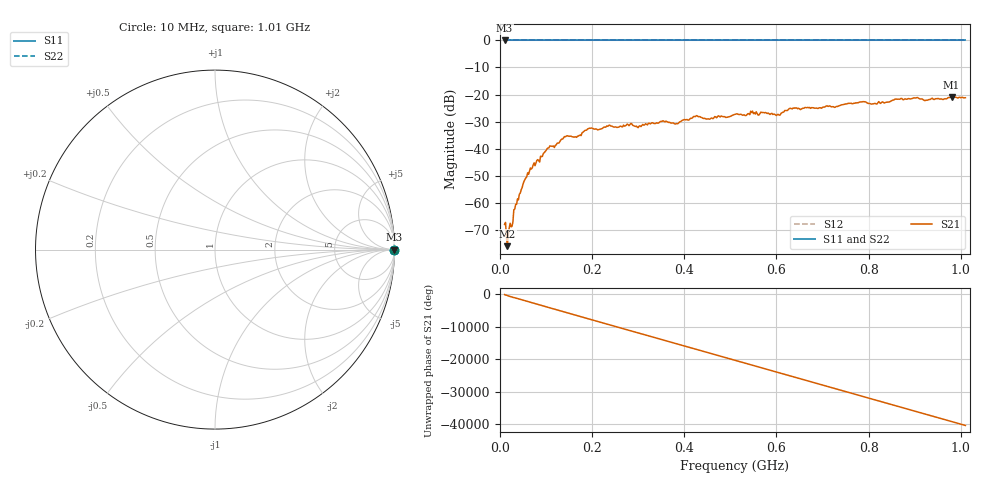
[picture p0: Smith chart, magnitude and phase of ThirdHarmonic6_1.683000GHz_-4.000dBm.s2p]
! 8/16/2025 8:11:51 PM
! C:\ANRITSUVNA\TEMP\TEMP.S2P
! CHANNEL.1
! TR.MEASUREMENT
! RAW.DATA
! RF.CORRECTION.OFF
! AVERAGING.OFF
! IF.BANDWIDTH: 5KHZ
! SWEEPTYPE:  FREQ.SWEEP(Linear)
! Reference Plane Port Info
! PORT:  PORT1  PORT2
! DISTANCE:  0  m  0  m
! TIME:  0  s  0  s
! PHASE.OFFSET:  0  deg.  0  deg.
! LOSS:  0  dB  0  dB
! REF.LOSS:  0  dB  0  dB
! REF.FREQ:  0  Hz  0  Hz
! Power Info
! POWER:  -20  dBm  -20  dBm
! EFF.POWER:  -20  dBm  -20  dBm
! SOURCE.ATTEN:  0  dB  0  dB
! TEST.ATTEN:  0  dB  0  dB
# GHZ S RI R 50.0
! FREQ.GHZ  S11RE  S11IM  S21RE  S21IM  S12RE  S12IM  S22RE  S22IM
!; PortSelection: Port_12
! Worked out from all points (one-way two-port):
!   501 points, 10 MHz to 1.01 GHz, reference 50 ohm
!   highest |S21| = -20.88 dB at 980 MHz (marker M1); lowest = -76.1 dB at 16 MHz (marker M2)
!   lowest |S11| = 0.0 dB at 10 MHz (marker M3)
!   |S11| at or under -10 dB: nowhere
!   |S22| runs from 0.0 to 0.0 dB; largest |S21 - S12| = 1.1
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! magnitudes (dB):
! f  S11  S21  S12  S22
! 10 MHz  0.0  -68.1  0.0  0.0
! 16 MHz  0.0  -76.1  0.0  0.0
! 20 MHz  0.0  -69.4  0.0  0.0
! 34 MHz  0.0  -60.6  0.0  0.0
! 50 MHz  0.0  -53.2  0.0  0.0
! 70 MHz  0.0  -47.1  0.0  0.0
! 106 MHz  0.0  -39.8  0.0  0.0
! 142 MHz  0.0  -35.7  0.0  0.0
! 178 MHz  0.0  -34.2  0.0  0.0
! 196 MHz  0.0  -32.5  0.0  0.0
! 302 MHz  0.0  -31.7  0.0  0.0
! 344 MHz  0.0  -30.6  0.0  0.0
! 382 MHz  0.0  -30.8  0.0  0.0
! 424 MHz  0.0  -28.2  0.0  0.0
! 452 MHz  0.0  -29.0  0.0  0.0
! 510 MHz  0.0  -27.3  0.0  0.0
! 604 MHz  0.0  -27.4  0.0  0.0
! 632 MHz  0.0  -25.2  0.0  0.0
! 678 MHz  0.0  -24.9  0.0  0.0
! 844 MHz  0.0  -22.8  0.0  0.0
! 980 MHz  0.0  -20.9  0.0  0.0
! 1.01 GHz  0.0  -21.2  0.0  0.0
